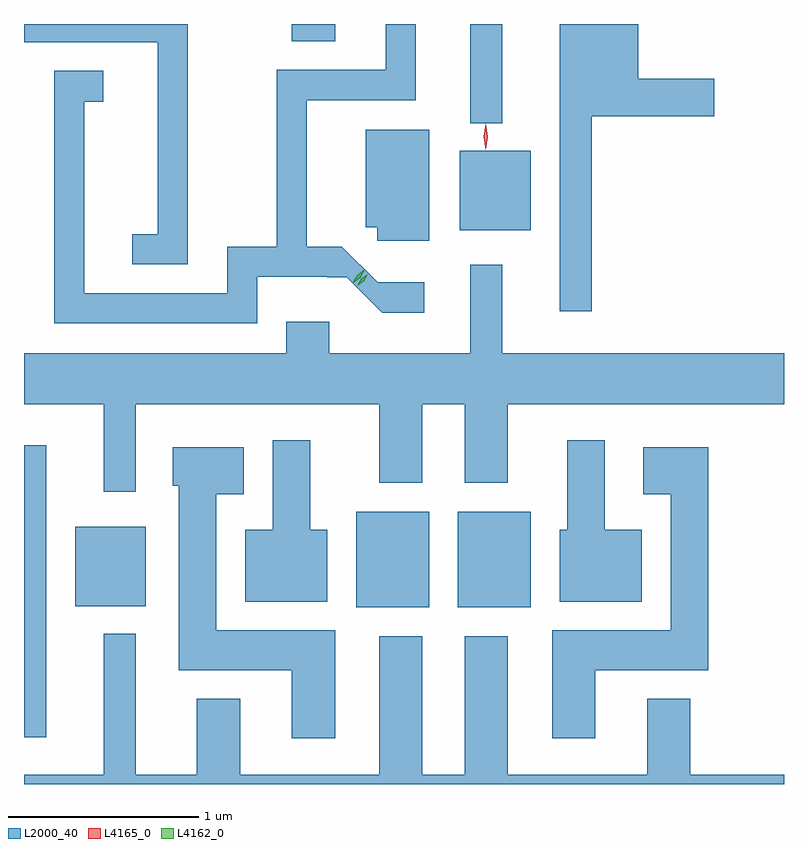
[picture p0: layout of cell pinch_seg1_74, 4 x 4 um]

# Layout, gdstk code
import gdstk
lib = gdstk.Library(unit=1e-6, precision=1e-09)
def R(c, l, rs):  # rectangles x0, y0, x1, y1
    for r in rs: c.add(gdstk.rectangle(r[:2], r[2:], *l))
def P(c, l, *ps):  # polygons
    for p in ps: c.add(gdstk.Polygon(p, *l))
L2000_40 = (2000, 40)
L4162_0 = (4162, 0)
L4165_0 = (4165, 0)

pinch_seg1_74 = lib.new_cell('pinch_seg1_74')
R(pinch_seg1_74, L2000_40, [(195.982,862.301,196.099,863.838), (197.731,862.986,198.114,863.489), (198.266,862.986,198.649,863.489), (196.251,862.991,196.624,863.409), (198.276,864.971,198.649,865.389), (198.331,865.533,198.499,866.056), (197.391,865.966,197.619,866.056)])
P(pinch_seg1_74, L2000_40, [(197.209,864.726),(197.578,864.726),(197.578,864.724),(197.68,864.724),(197.868,864.536),(198.088,864.536),(198.088,864.696),(197.843,864.696),(197.655,864.884),(197.469,864.884),(197.469,865.656),(198.044,865.656),(198.044,866.056),(197.886,866.056),(197.886,865.814),(197.311,865.814),(197.311,864.884),(197.051,864.884),(197.051,864.639),(196.299,864.639),(196.299,865.646),(196.398,865.646),(196.398,865.809),(196.141,865.809),(196.141,864.481),(197.209,864.481)],
  [(198.969,865.571),(199.614,865.571),(199.614,865.769),(199.214,865.769),(199.214,866.056),(198.801,866.056),(198.801,864.543),(198.969,864.543)],
  [(196.844,866.056),(195.982,866.056),(195.982,865.961),(196.686,865.961),(196.686,864.949),(196.553,864.949),(196.553,864.791),(196.844,864.791)],
  [(198.114,865.499),(197.781,865.499),(197.781,864.986),(197.841,864.986),(197.841,864.916),(198.114,864.916)],
  [(196.569,864.056),(197.851,864.056),(197.851,863.641),(198.079,863.641),(198.079,864.056),(198.301,864.056),(198.301,863.641),(198.529,863.641),(198.529,864.056),(199.982,864.056),(199.982,864.324),(198.499,864.324),(198.499,864.788),(198.331,864.788),(198.331,864.324),(197.589,864.324),(197.589,864.489),(197.361,864.489),(197.361,864.324),(195.982,864.324),(195.982,864.056),(196.401,864.056),(196.401,863.593),(196.569,863.593)],
  [(197.579,863.394),(197.489,863.394),(197.489,863.864),(197.291,863.864),(197.291,863.394),(197.146,863.394),(197.146,863.016),(197.579,863.016)],
  [(199.234,863.394),(199.039,863.394),(199.039,863.864),(198.841,863.864),(198.841,863.394),(198.801,863.394),(198.801,863.016),(199.234,863.016)],
  [(197.619,862.864),(196.994,862.864),(196.994,863.581),(197.139,863.581),(197.139,863.829),(196.766,863.829),(196.766,863.626),(196.796,863.626),(196.796,862.656),(197.391,862.656),(197.391,862.296),(197.619,862.296)],
  [(198.989,862.656),(199.584,862.656),(199.584,863.829),(199.241,863.829),(199.241,863.581),(199.386,863.581),(199.386,862.864),(198.761,862.864),(198.761,862.296),(198.989,862.296)],
  [(199.982,862.104),(199.489,862.104),(199.489,862.504),(199.261,862.504),(199.261,862.104),(198.529,862.104),(198.529,862.834),(198.301,862.834),(198.301,862.104),(198.079,862.104),(198.079,862.834),(197.851,862.834),(197.851,862.104),(197.119,862.104),(197.119,862.504),(196.891,862.504),(196.891,862.104),(196.569,862.104),(196.569,862.848),(196.401,862.848),(196.401,862.104),(195.982,862.104),(195.982,862.056),(199.982,862.056)])
P(pinch_seg1_74, L4162_0, [(197.736,864.678),(197.736,864.679),(197.757,864.715),(197.791,864.739),(197.792,864.739),(197.792,864.738),(197.771,864.702),(197.737,864.678)],
  [(197.712,864.692),(197.712,864.693),(197.736,864.734),(197.774,864.762),(197.775,864.762),(197.775,864.762),(197.751,864.72),(197.712,864.692)])
P(pinch_seg1_74, L4165_0, [(198.412,865.398),(198.412,865.399),(198.402,865.463),(198.412,865.527),(198.412,865.527),(198.413,865.527),(198.422,865.463),(198.413,865.399)],
  [(198.412,865.393),(198.412,865.394),(198.402,865.462),(198.412,865.53),(198.412,865.53),(198.413,865.53),(198.422,865.462),(198.413,865.394)])

lib.write_gds('pinch_seg1_74.gds')
